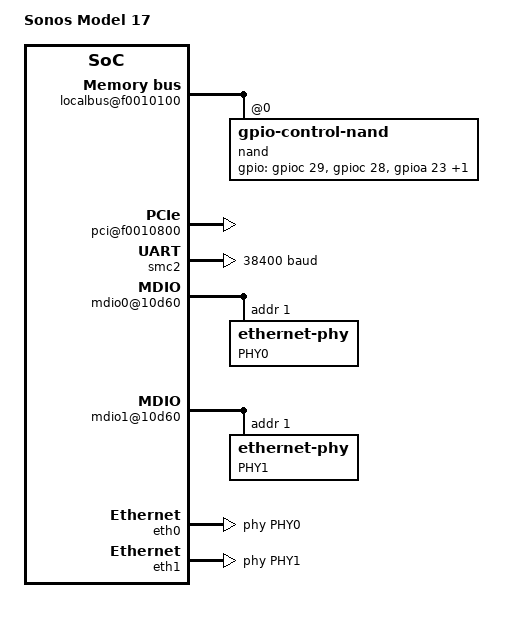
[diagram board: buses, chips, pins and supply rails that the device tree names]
/*
 * MPC8272 ADS Device Tree Source
 *
 * Copyright 2005 Freescale Semiconductor Inc.
 *
 * This program is free software; you can redistribute  it and/or modify it
 * under  the terms of  the GNU General  Public License as published by the
 * Free Software Foundation;  either version 2 of the  License, or (at your
 * option) any later version.
 */

/dts-v1/;

/ {
	model = "Sonos Model 17";
	compatible = "fsl,mpc8272ads";
	#address-cells = <1>;
	#size-cells = <1>;

	aliases {
		ethernet0 = &eth0;
		ethernet1 = &eth1;
		serial0 = &smc2;
	};

	cpus {
		#address-cells = <1>;
		#size-cells = <0>;

		PowerPC,8272@0 {
			device_type = "cpu";
			reg = <0x0>;
			d-cache-line-size = <32>;
			i-cache-line-size = <32>;
			d-cache-size = <16384>;
			i-cache-size = <16384>;
			timebase-frequency = <0>;
			bus-frequency = <0>;
			clock-frequency = <0>;
		};
	};

	memory {
		device_type = "memory";
		reg = <0x0 0x0>;
	};

	localbus@f0010100 {
		compatible = "fsl,mpc8272-localbus",
		             "fsl,pq2-localbus";
		#address-cells = <2>;
		#size-cells = <1>;
		reg = <0xf0010100 0x40>;

		ranges = <0x0 0x0 0xf8000000 0x00800000>;

		nand: gpio-nand@0x000000,0 {
			compatible = "gpio-control-nand";
			reg = <0x0 0x0 0x00020000>;
			bank-width = <1>;
			chip-delay = <15>;
			gpios = <&gpioc 29 0	/* rdy */
				 &gpioc 28 0	/* nce */
				 &gpioa 23 0	/* ale */
				 &gpioa 22 0	/* cle */
				 0>;		/* nwp */
		};
	};

	pci@f0010800 {
		device_type = "pci";
		reg = <0xf0010800 0x10c 0xf00101ac 0x8 0xf00101c4 0x8>;
		compatible = "fsl,mpc8272-pci", "fsl,pq2-pci";
		bus-range = <0x0 0xff>;
		#interrupt-cells = <1>;
		#size-cells = <2>;
		#address-cells = <3>;
		clock-frequency = <66666666>;
		interrupt-parent = <&PIC>;
		interrupts = <19 8>;
		ranges = <0x42000000 0x0 0x80000000 0x80000000 0x0 0x20000000
		          0x2000000 0x0 0xa0000000 0xa0000000 0x0 0x20000000
		          0x1000000 0x0 0xf4000000 0xf4000000 0x0 0x2000000>;
	};

	soc@f0000000 {
		#address-cells = <1>;
		#size-cells = <1>;
		device_type = "soc";
		compatible = "fsl,mpc8272", "fsl,pq2-soc";
		ranges = <0x0 0xf0000000 0x53000>;

		// Temporary -- will go away once kernel uses ranges for get_immrbase().
		reg = <0xf0000000 0x53000>;

		cpm@119c0 {
			#address-cells = <1>;
			#size-cells = <1>;
			compatible = "fsl,mpc8272-cpm", "fsl,cpm2";
			reg = <0x119c0 0x30>;
			ranges;

			muram@0 {
				#address-cells = <1>;
				#size-cells = <1>;
				ranges = <0x0 0x0 0x10000>;

				data@0 {
					compatible = "fsl,cpm-muram-data";
					reg = <0x80 0x1f80 0x9000 0x800>;
				};
			};

			brg@119f0 {
				compatible = "fsl,mpc8272-brg",
				             "fsl,cpm2-brg",
				             "fsl,cpm-brg";
				reg = <0x119f0 0x10 0x115f0 0x10>;
			};

			smc2: serial@11a92 {
				device_type = "serial";
				compatible = "fsl,mpc8272-smc-uart",
				             "fsl,cpm2-smc-uart";
				reg = <0x11a90 0x20 0x40 0x2>;
				interrupts = <5 8>;
				interrupt-parent = <&PIC>;
				fsl,cpm-brg = <2>;
				fsl,cpm-command = <0x21200000>;
				current-speed = <38400>;
			};

			mdio0@10d60 {
				device_type = "mdio";
				compatible = "fsl,mpc8272ads-mdio-bitbang",
				             "fsl,mpc8272-mdio-bitbang",
				             "fsl,cpm2-mdio-bitbang";
				reg = <0x10d60 0x14>;
				#address-cells = <1>;
				#size-cells = <0>;
				fsl,mdio-pin = <24>;
				fsl,mdc-pin = <23>;

				PHY0: ethernet-phy@0 {
					reg = <0x1>;
					device_type = "ethernet-phy";
				};

			};

			mdio1@10d60 {
				device_type = "mdio";
				compatible = "fsl,mpc8272ads-mdio-bitbang",
				             "fsl,mpc8272-mdio-bitbang",
				             "fsl,cpm2-mdio-bitbang";
				reg = <0x10d60 0x14>;
				#address-cells = <1>;
				#size-cells = <0>;
				fsl,mdio-pin = <24>;
				fsl,mdc-pin = <25>;

				PHY1: ethernet-phy@1 {
					reg = <0x1>;
					device_type = "ethernet-phy";
				};
			};

			eth0: ethernet@11300 {
				device_type = "network";
				compatible = "fsl,mpc8272-fcc-enet",
				             "fsl,cpm2-fcc-enet";
				reg = <0x11300 0x20 0x8400 0x100 0x11390 0x1>;
				local-mac-address = [ 00 12 34 56 78 90 ];
				interrupts = <32 8>;
				interrupt-parent = <&PIC>;
				phy-handle = <&PHY0>;
				linux,network-index = <0>;
				fsl,cpm-command = <0x12000300>;
			};

			eth1: ethernet@11320 {
				device_type = "network";
				compatible = "fsl,mpc8272-fcc-enet",
				             "fsl,cpm2-fcc-enet";
				reg = <0x11320 0x20 0x8500 0x100 0x113b0 0x1>;
				local-mac-address = [ 00 12 34 56 78 91 ];
				interrupts = <33 8>;
				interrupt-parent = <&PIC>;
				phy-handle = <&PHY1>;
				linux,network-index = <1>;
				fsl,cpm-command = <0x16200300>;
			};

			gpioa: gpio@0x10d00 {
				compatible = "fsl,mpc8272-gpio", "fsl,cpm2-gpio";
				reg = <0x10d00 0x14>;
				#address-cells = <1>;
				#size-cells = <0>;
				fsl,gpio-pin = <24>;
				#gpio-cells = <2>;
				gpio-controller;
			};

			gpiob: gpio@0x10d20 {
				compatible = "fsl,mpc8272-gpio", "fsl,cpm2-gpio";
				reg = <0x10d20 0x14>;
				#address-cells = <1>;
				#size-cells = <0>;
				fsl,gpio-pin = <14>;
				#gpio-cells = <2>;
				gpio-controller;
			};

			gpioc: gpio@0x10d40 {
				compatible = "fsl,mpc8272-gpio", "fsl,cpm2-gpio";
				reg = <0x10d40 0x14>;
				#address-cells = <1>;
				#size-cells = <0>;
				fsl,gpio-pin = <32>;
				#gpio-cells = <2>;
				gpio-controller;
			};

			gpiod: gpio@0x10d60 {
				compatible = "fsl,mpc8272-gpio", "fsl,cpm2-gpio";
				reg = <0x10d60 0x14>;
				#address-cells = <1>;
				#size-cells = <0>;
				fsl,gpio-pin = <32>;
				#gpio-cells = <2>;
				gpio-controller;
			};
		};

		PIC: interrupt-controller@10c00 {
			#interrupt-cells = <2>;
			interrupt-controller;
			reg = <0x10c00 0x80>;
			compatible = "fsl,mpc8272-pic", "fsl,cpm2-pic";
		};
	};

	chosen {
		linux,stdout-path = "/soc/cpm/serial@11a92";
		bootargs = "console=ttyCPM0,38400 root=/dev/ram";
	};
};
